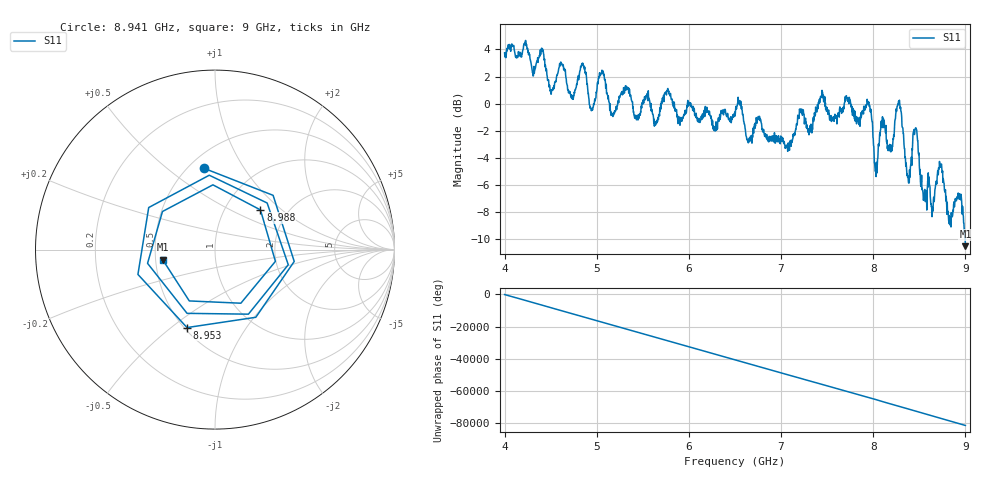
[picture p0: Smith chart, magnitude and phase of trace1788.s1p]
! Created with skrf 1.8.0 (http://scikit-rf.org).
# Hz S RI R 50.0
!freq ReS11 ImS11
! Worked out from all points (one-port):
!   1601 points, 4 GHz to 9 GHz, reference 50 ohm
!   lowest |S11| = -10.5 dB at 9 GHz (marker M1), VSWR 1.84, Z = 27.3 - j3.38 ohm
!   |S11| at or under -10 dB: 8.997457 GHz to end of sweep
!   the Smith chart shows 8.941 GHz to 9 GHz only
!   S11 on the Smith chart (normalised r, x): 8.941 GHz: 0.59, +0.68; 8.953 GHz: 0.52, -0.57; 8.988 GHz: 1.46, +0.73; 9 GHz: 0.55, -0.07
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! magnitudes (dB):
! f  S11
! 4 GHz  3.7
! 4.403 GHz  4.1
! 4.506 GHz  0.7
! 4.625 GHz  2.9
! 4.731 GHz  0.5
! 4.859 GHz  2.7
! 4.944 GHz  -0.5
! 5.053 GHz  2.2
! 5.166 GHz  -0.7
! 5.25 GHz  0.5
! 5.875 GHz  -0.9
! 6.5 GHz  -0.9
! 7.125 GHz  -2.6
! 7.434 GHz  0.4
! 7.75 GHz  0.3
! 7.953 GHz  0.1
! 8.028 GHz  -4.9
! 8.094 GHz  -1.3
! 8.281 GHz  0.1
! 8.375 GHz  -5.5
! 8.456 GHz  -1.9
! 8.556 GHz  -6.8
! 8.725 GHz  -4.6
! 8.831 GHz  -8.6
! 8.941 GHz  -6.8
! 8.953 GHz  -6.7
! 8.988 GHz  -9.5
! 9 GHz  -10.5
